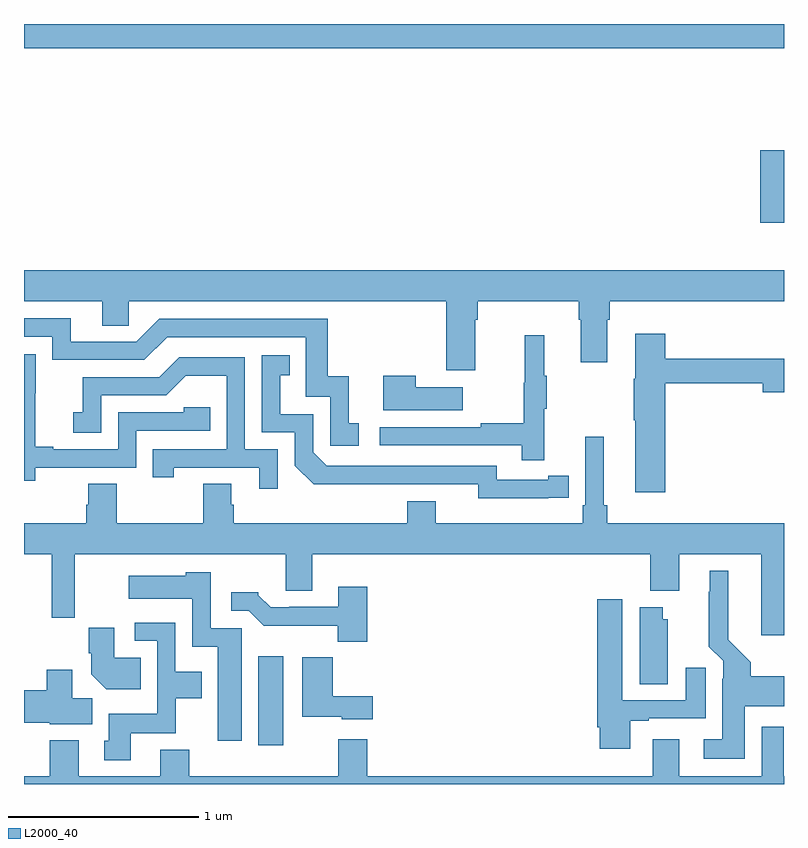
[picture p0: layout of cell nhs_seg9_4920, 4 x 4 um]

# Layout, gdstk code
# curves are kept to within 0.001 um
import gdstk
lib = gdstk.Library(unit=1e-6, precision=1e-09)
def R(c, l, rs):  # rectangles x0, y0, x1, y1
    for r in rs: c.add(gdstk.rectangle(r[:2], r[2:], *l))
def P(c, l, *ps):  # polygons
    for p in ps: c.add(gdstk.Polygon(p, *l))
L2000_40 = (2000, 40)

nhs_seg9_4920 = lib.new_cell('nhs_seg9_4920')
R(nhs_seg9_4920, L2000_40, [(396.233,1240.704,396.364,1241.173), (398.876,1243.455,399,1243.836), (395,1244.372,399,1244.5)])
P(nhs_seg9_4920, L2000_40, [(397.375,1242.944),(397.388,1242.944),(397.388,1243.04),(397.919,1243.04),(397.919,1242.944),(397.931,1242.944),(397.931,1242.72),(398.071,1242.72),(398.071,1242.944),(398.084,1242.944),(398.084,1243.04),(399,1243.04),(399,1243.204),(395,1243.204),(395,1243.04),(395.411,1243.04),(395.411,1242.913),(395.55,1242.913),(395.55,1243.04),(397.223,1243.04),(397.223,1242.678),(397.375,1242.678)],
  [(396.763,1242.399),(396.71,1242.399),(396.71,1242.646),(396.599,1242.646),(396.599,1242.948),(395.712,1242.948),(395.592,1242.828),(395.245,1242.828),(395.245,1242.951),(395,1242.951),(395,1242.855),(395.148,1242.855),(395.148,1242.732),(395.634,1242.732),(395.754,1242.852),(396.483,1242.852),(396.483,1242.537),(396.612,1242.537),(396.612,1242.279),(396.763,1242.279)],
  [(398.375,1242.61),(398.888,1242.61),(398.888,1242.563),(399,1242.563),(399,1242.739),(398.375,1242.739),(398.375,1242.871),(398.216,1242.871),(398.216,1242.633),(398.209,1242.633),(398.209,1242.415),(398.216,1242.415),(398.216,1242.036),(398.375,1242.036)],
  [(397.739,1242.475),(397.75,1242.475),(397.75,1242.649),(397.739,1242.649),(397.739,1242.862),(397.636,1242.862),(397.636,1242.612),(397.629,1242.612),(397.629,1242.398),(397.405,1242.398),(397.405,1242.378),(396.873,1242.378),(396.873,1242.282),(397.621,1242.282),(397.621,1242.204),(397.739,1242.204)],
  [(395.058,1242.165),(395.592,1242.165),(395.592,1242.36),(395.981,1242.36),(395.981,1242.483),(395.841,1242.483),(395.841,1242.456),(395.496,1242.456),(395.496,1242.261),(395.155,1242.261),(395.155,1242.274),(395.06,1242.274),(395.06,1242.557),(395.061,1242.557),(395.061,1242.763),(395,1242.763),(395,1242.097),(395.058,1242.097)],
  [(397.76,1242.006),(397.868,1242.006),(397.868,1242.122),(397.76,1242.122),(397.76,1242.102),(397.488,1242.102),(397.488,1242.174),(396.594,1242.174),(396.522,1242.246),(396.522,1242.447),(396.349,1242.447),(396.349,1242.651),(396.398,1242.651),(396.398,1242.757),(396.252,1242.757),(396.252,1242.351),(396.426,1242.351),(396.426,1242.174),(396.524,1242.077),(397.392,1242.078),(397.392,1242.005)],
  [(396.336,1242.261),(396.162,1242.261),(396.162,1242.747),(395.816,1242.747),(395.711,1242.642),(395.308,1242.642),(395.308,1242.457),(395.259,1242.457),(395.259,1242.348),(395.406,1242.348),(395.406,1242.546),(395.748,1242.546),(395.852,1242.65),(396.066,1242.65),(396.066,1242.261),(395.677,1242.261),(395.677,1242.114),(395.788,1242.114),(395.788,1242.165),(396.239,1242.165),(396.239,1242.054),(396.336,1242.054)],
  [(397.309,1242.589),(397.061,1242.589),(397.061,1242.649),(396.89,1242.649),(396.89,1242.467),(397.309,1242.467)],
  [(399,1241.872),(398.069,1241.872),(398.069,1241.968),(398.05,1241.968),(398.05,1242.328),(397.953,1242.328),(397.953,1241.968),(397.94,1241.968),(397.94,1241.872),(397.168,1241.872),(397.168,1241.989),(397.016,1241.989),(397.016,1241.872),(396.104,1241.872),(396.104,1241.97),(396.091,1241.97),(396.091,1242.08),(395.944,1242.08),(395.944,1241.872),(395.487,1241.872),(395.487,1242.08),(395.339,1242.08),(395.339,1241.97),(395.327,1241.97),(395.327,1241.872),(395,1241.872),(395,1241.708),(395.146,1241.708),(395.146,1241.376),(395.267,1241.376),(395.267,1241.708),(396.377,1241.708),(396.377,1241.518),(396.517,1241.518),(396.517,1241.708),(398.297,1241.708),(398.297,1241.516),(398.449,1241.516),(398.449,1241.708),(398.879,1241.708),(398.879,1241.283),(399,1241.283)],
  [(398.794,1240.91),(399,1240.91),(399,1241.068),(398.825,1241.068),(398.825,1241.142),(398.707,1241.26),(398.707,1241.623),(398.609,1241.623),(398.609,1241.513),(398.605,1241.513),(398.605,1241.222),(398.679,1241.148),(398.679,1241.054),(398.675,1241.054),(398.675,1240.735),(398.577,1240.735),(398.577,1240.634),(398.794,1240.634)],
  [(396.145,1241.319),(395.982,1241.319),(395.982,1241.614),(395.85,1241.614),(395.85,1241.596),(395.55,1241.596),(395.55,1241.474),(395.886,1241.474),(395.886,1241.222),(396.02,1241.222),(396.02,1240.728),(396.145,1240.728)],
  [(396.806,1241.539),(396.653,1241.539),(396.653,1241.433),(396.397,1241.433),(396.397,1241.43),(396.298,1241.43),(396.234,1241.494),(396.234,1241.509),(396.09,1241.509),(396.09,1241.412),(396.183,1241.412),(396.262,1241.334),(396.651,1241.334),(396.651,1241.249),(396.806,1241.249)],
  [(398.191,1240.833),(398.287,1240.833),(398.287,1240.845),(398.587,1240.845),(398.587,1241.113),(398.483,1241.113),(398.483,1240.941),(398.149,1240.941),(398.149,1241.473),(398.018,1241.473),(398.018,1240.798),(398.03,1240.798),(398.03,1240.686),(398.191,1240.686)],
  [(398.389,1241.367),(398.362,1241.367),(398.362,1241.431),(398.24,1241.431),(398.24,1241.026),(398.389,1241.026)],
  [(395.563,1240.766),(395.799,1240.766),(395.799,1240.952),(395.935,1240.952),(395.935,1241.092),(395.796,1241.092),(395.796,1241.349),(395.583,1241.349),(395.583,1241.253),(395.7,1241.253),(395.7,1240.87),(395.447,1240.87),(395.447,1240.728),(395.423,1240.728),(395.423,1240.626),(395.563,1240.626)],
  [(395.615,1241.164),(395.476,1241.164),(395.476,1241.323),(395.342,1241.323),(395.342,1241.188),(395.354,1241.188),(395.354,1241.078),(395.432,1241),(395.615,1241)],
  [(396.835,1240.963),(396.626,1240.963),(396.626,1241.167),(396.464,1241.167),(396.464,1240.853),(396.672,1240.853),(396.672,1240.841),(396.835,1240.841)],
  [(395.359,1240.952),(395.254,1240.952),(395.254,1241.101),(395.12,1241.101),(395.12,1240.994),(395,1240.994),(395,1240.823),(395.136,1240.823),(395.136,1240.814),(395.359,1240.814)],
  [(399,1240.54),(398.999,1240.54),(398.999,1240.801),(398.883,1240.801),(398.883,1240.54),(398.449,1240.54),(398.449,1240.735),(398.309,1240.735),(398.309,1240.54),(396.806,1240.54),(396.806,1240.735),(396.653,1240.735),(396.653,1240.54),(395.87,1240.54),(395.87,1240.681),(395.717,1240.681),(395.717,1240.54),(395.287,1240.54),(395.287,1240.729),(395.135,1240.729),(395.135,1240.54),(395,1240.54),(395,1240.5),(399,1240.5)])

lib.write_gds('nhs_seg9_4920.gds')
